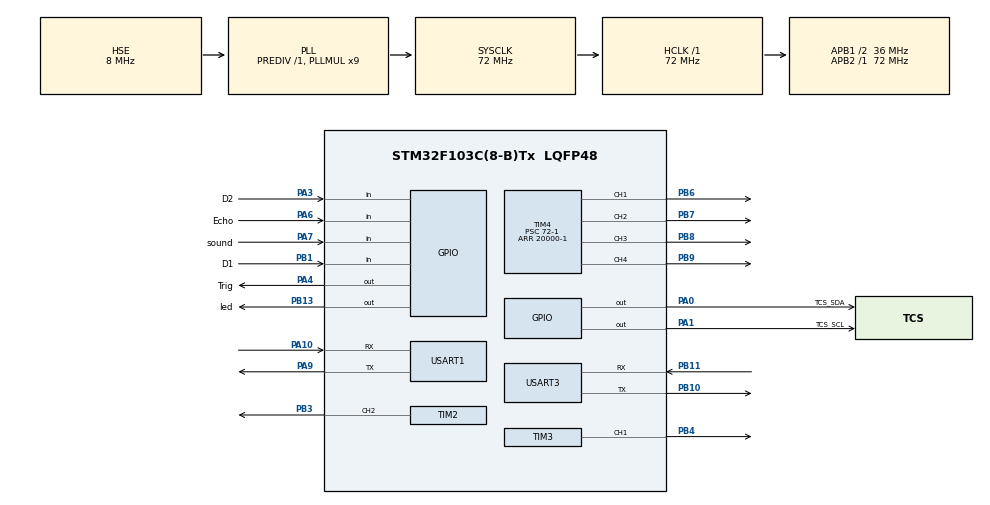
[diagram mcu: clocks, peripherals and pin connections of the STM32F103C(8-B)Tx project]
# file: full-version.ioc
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Mcu.Family=STM32F1
Mcu.Name=STM32F103C(8-B)Tx
Mcu.Package=LQFP48
NVIC.PriorityGroup=NVIC_PRIORITYGROUP_4
NVIC.USART1_IRQn=true\:0\:0\:false\:false\:true\:true\:true
NVIC.USART3_IRQn=true\:0\:0\:false\:false\:true\:true\:true
PA0-WKUP.GPIO_Label=TCS_SDA
PA0-WKUP.GPIO_ModeDefaultOutputPP=GPIO_MODE_OUTPUT_PP
PA0-WKUP.GPIO_PuPd=GPIO_NOPULL
PA0-WKUP.GPIO_Speed=GPIO_SPEED_FREQ_HIGH
PA0-WKUP.PinState=GPIO_PIN_SET
PA0-WKUP.Signal=GPIO_Output
PA1.GPIO_Label=TCS_SCL
PA1.GPIO_ModeDefaultOutputPP=GPIO_MODE_OUTPUT_PP
PA1.GPIO_PuPd=GPIO_NOPULL
PA1.GPIO_Speed=GPIO_SPEED_FREQ_HIGH
PA1.PinState=GPIO_PIN_SET
PA1.Signal=GPIO_Output
PA10.Mode=Asynchronous
PA10.Signal=USART1_RX
PA3.GPIO_Label=D2
PA3.Signal=GPIO_Input
PA4.GPIO_Label=Trig
PA4.GPIO_PuPd=GPIO_PULLUP
PA4.Signal=GPIO_Output
PA6.GPIO_Label=Echo
PA6.Signal=GPIO_Input
PA7.GPIO_Label=sound
PA7.Signal=GPIO_Input
PA9.Mode=Asynchronous
PA9.Signal=USART1_TX
PB1.GPIO_Label=D1
PB1.Signal=GPIO_Input
PB10.Mode=Asynchronous
PB10.Signal=USART3_TX
PB11.Mode=Asynchronous
PB11.Signal=USART3_RX
PB13.GPIO_Label=led
PB13.GPIO_PuPd=GPIO_PULLDOWN
PB13.PinState=GPIO_PIN_SET
PB13.Signal=GPIO_Output
PB3.Signal=S_TIM2_CH2
PB4.Signal=S_TIM3_CH1
PB6.Signal=S_TIM4_CH1
PB7.Signal=S_TIM4_CH2
PB8.Signal=S_TIM4_CH3
PB9.Signal=S_TIM4_CH4
PD0-OSC_IN.Mode=HSE-External-Oscillator
PD0-OSC_IN.Signal=RCC_OSC_IN
PD1-OSC_OUT.Mode=HSE-External-Oscillator
PD1-OSC_OUT.Signal=RCC_OSC_OUT
ProjectManager.HeapSize=0x200
ProjectManager.StackSize=0x400
ProjectManager.TargetToolchain=MDK-ARM V5.27
RCC.AHBFreq_Value=72000000
RCC.APB1CLKDivider=RCC_HCLK_DIV2
RCC.APB1Freq_Value=36000000
RCC.APB1TimFreq_Value=72000000
RCC.APB2Freq_Value=72000000
RCC.APB2TimFreq_Value=72000000
RCC.HCLKFreq_Value=72000000
RCC.PLLMUL=RCC_PLL_MUL9
RCC.PLLSourceVirtual=RCC_PLLSOURCE_HSE
RCC.SYSCLKFreq_VALUE=72000000
RCC.SYSCLKSource=RCC_SYSCLKSOURCE_PLLCLK
RCC.USBFreq_Value=72000000
SH.S_TIM2_CH2.0=TIM2_CH2,PWM Generation2 CH2
SH.S_TIM3_CH1.0=TIM3_CH1,PWM Generation1 CH1
SH.S_TIM4_CH1.0=TIM4_CH1,PWM Generation1 CH1
SH.S_TIM4_CH2.0=TIM4_CH2,PWM Generation2 CH2
SH.S_TIM4_CH3.0=TIM4_CH3,PWM Generation3 CH3
SH.S_TIM4_CH4.0=TIM4_CH4,PWM Generation4 CH4
TIM2.Channel-PWM\ Generation2\ CH2=TIM_CHANNEL_2
TIM2.OC2Preload_PWM=DISABLE
TIM2.OCFastMode_PWM-PWM\ Generation2\ CH2=TIM_OCFAST_ENABLE
TIM2.Period=20000-1
TIM2.Prescaler=72-1
TIM2.Pulse-PWM\ Generation2\ CH2=1500
TIM3.Channel-PWM\ Generation1\ CH1=TIM_CHANNEL_1
TIM3.OC1Preload_PWM=DISABLE
TIM3.OCFastMode_PWM-PWM\ Generation1\ CH1=TIM_OCFAST_ENABLE
TIM3.Period=20000-1
TIM3.Prescaler=72-1
TIM3.Pulse-PWM\ Generation1\ CH1=1500
TIM4.Channel-PWM\ Generation1\ CH1=TIM_CHANNEL_1
TIM4.Channel-PWM\ Generation2\ CH2=TIM_CHANNEL_2
TIM4.Channel-PWM\ Generation3\ CH3=TIM_CHANNEL_3
TIM4.Channel-PWM\ Generation4\ CH4=TIM_CHANNEL_4
TIM4.OC1Preload_PWM=DISABLE
TIM4.OC2Preload_PWM=DISABLE
TIM4.OC3Preload_PWM=DISABLE
TIM4.OC4Preload_PWM=DISABLE
TIM4.OCFastMode_PWM-PWM\ Generation1\ CH1=TIM_OCFAST_ENABLE
TIM4.OCFastMode_PWM-PWM\ Generation2\ CH2=TIM_OCFAST_ENABLE
TIM4.OCFastMode_PWM-PWM\ Generation3\ CH3=TIM_OCFAST_ENABLE
TIM4.OCFastMode_PWM-PWM\ Generation4\ CH4=TIM_OCFAST_ENABLE
TIM4.Period=20000-1
TIM4.Prescaler=72-1
TIM4.Pulse-PWM\ Generation1\ CH1=1500
TIM4.Pulse-PWM\ Generation2\ CH2=1500
TIM4.Pulse-PWM\ Generation3\ CH3=1500
TIM4.Pulse-PWM\ Generation4\ CH4=1500
USART1.VirtualMode=VM_ASYNC
USART3.VirtualMode=VM_ASYNC
VP_SYS_VS_ND.Mode=No_Debug
board=custom

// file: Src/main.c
/* USER CODE BEGIN Header */
/**
  ******************************************************************************
  * @file           : main.c
  * @brief          : Main program body
  ******************************************************************************
  * @attention
  *
  * <h2><center>&copy; Copyright (c) 2021 STMicroelectronics.
  * All rights reserved.</center></h2>
  *
  * This software component is licensed by ST under BSD 3-Clause license,
  * the "License"; You may not use this file except in compliance with the
  * License. You may obtain a copy of the License at:
  *                        opensource.org/licenses/BSD-3-Clause
  *
  ******************************************************************************
  */
/* USER CODE END Header */
#include "main.h"
#include "tim.h"
#include "usart.h"
#include "gpio.h"

/* USER CODE BEGIN Includes */
#include "stdio.h"
#include "motor.h"
#include "robot-arm.h"
#include "string.h"
#include "sensor.h"
/* USER CODE END Includes */

void SystemClock_Config(void);

/* USER CODE BEGIN 0 */

int fputc(int ch, FILE *stream)    //重写fputc函数
{
 /*
    huart1是工具生成代码定义的UART1结构体，
    如果以后要使用其他串口打印，只需要把这个结构体改成其他UART结构体。
	使用HAL_UART_Transmit时，可以直接调用，使用IT,DMA,VCP方式时，需要对返回值判断，不然会出现只能发送一个字节的情况。
	安全起见，建议全部使用while判断。
*/
	//HAL_UART_Transmit(&huart1, (unsigned char *)&ch, 1,1000);//轮询阻塞方式
	while(HAL_UART_Transmit_IT(&huart1, (unsigned char *)&ch, 1)!=HAL_OK){};//中断方式
    return 1;
}
int fgetc(FILE *f)
{
  uint8_t ch =0;
	//HAL_UART_Receive(&huart1, &ch, 1, 0xffff);//轮询阻塞方式
	while(HAL_UART_Receive_IT(&huart1, &ch, 1)!=HAL_OK){};
  return ch;
}

/* USER CODE END 0 */

int main(void)
{

  /* MCU Configuration--------------------------------------------------------*/

  /* Reset of all peripherals, Initializes the Flash interface and the Systick. */
  HAL_Init();

  /* Configure the system clock */
  SystemClock_Config();

  /* USER CODE BEGIN SysInit */
	HAL_Delay(1000);
  /* USER CODE END SysInit */

  /* Initialize all configured peripherals */
  MX_GPIO_Init();
  MX_TIM2_Init();
  MX_USART1_UART_Init();
  MX_USART3_UART_Init();
  MX_TIM3_Init();
  MX_TIM4_Init();
  /* USER CODE BEGIN 2 */
  HAL_UART_Receive_IT(&huart3,&blue_cmd,1);//打开串口中断
	motor_init();
	arm_init();
	TCS34725_Init(TCS34725_INTEGRATIONTIME_700MS,TCS34725_GAIN_1X);
	HAL_Delay(2000);
	arm_set(arm_begin);
	HAL_GPIO_WritePin(led_GPIO_Port,led_Pin,GPIO_PIN_RESET);
  /* USER CODE END 2 */

  /* Infinite loop */
  /* USER CODE BEGIN WHILE */
  char input;
  while (1)
  {
    /* USER CODE END WHILE */

    /* USER CODE BEGIN 3 */
	input=get_cmd();
	if(input){
	switch(input){
		case '1':
			usart_send_str(&huart3,(unsigned char *)"Motor Control Begin!\r\n");
			motor_task();
			motor_set(0,0);
			usart_send_str(&huart3,(unsigned char *)"Motor Control End!\r\n");break;
		case '2':
			usart_send_str(&huart3,(unsigned char *)"Hcsr Task Begin!\r\n");
			while(get_cmd()!='Q'){hcsr_task();}
			motor_set(0,0);
			usart_send_str(&huart3,(unsigned char *)"Hcsr Task End!\r\n");break;
		case '3':
			usart_send_str(&huart3,(unsigned char *)"Color Task Begin!\r\n");
			while(get_cmd()!='Q'){color_task();}
			usart_send_str(&huart3,(unsigned char *)"Color Task End!\r\n");break;
		case '4':
			usart_send_str(&huart3,(unsigned char *)"XunJi Task Begin!\r\n");
			while((xunji_task())&&(get_cmd()!='Q'));
			usart_send_str(&huart3,(unsigned char *)"XunJi Task End!\r\n");break;
		case '5':
			usart_send_str(&huart3,(unsigned char *)"Arm Control Begin!\r\n");
			arm_task();
			usart_send_str(&huart3,(unsigned char *)"Arm Control End!\r\n");break;
		default:usart_send_str(&huart3,(unsigned char *)"Error Cmd\r\n");break;
	}
	}
	sound_task();
  }
  /* USER CODE END 3 */
}

void SystemClock_Config(void)
{
  RCC_OscInitTypeDef RCC_OscInitStruct = {0};
  RCC_ClkInitTypeDef RCC_ClkInitStruct = {0};

  /** Initializes the RCC Oscillators according to the specified parameters
  * in the RCC_OscInitTypeDef structure.
  */
  RCC_OscInitStruct.OscillatorType = RCC_OSCILLATORTYPE_HSE;
  RCC_OscInitStruct.HSEState = RCC_HSE_ON;
  RCC_OscInitStruct.HSEPredivValue = RCC_HSE_PREDIV_DIV1;
  RCC_OscInitStruct.HSIState = RCC_HSI_ON;
  RCC_OscInitStruct.PLL.PLLState = RCC_PLL_ON;
  RCC_OscInitStruct.PLL.PLLSource = RCC_PLLSOURCE_HSE;
  RCC_OscInitStruct.PLL.PLLMUL = RCC_PLL_MUL9;
  if (HAL_RCC_OscConfig(&RCC_OscInitStruct) != HAL_OK)
  {
    Error_Handler();
  }
  /** Initializes the CPU, AHB and APB buses clocks
  */
  RCC_ClkInitStruct.ClockType = RCC_CLOCKTYPE_HCLK|RCC_CLOCKTYPE_SYSCLK
                              |RCC_CLOCKTYPE_PCLK1|RCC_CLOCKTYPE_PCLK2;
  RCC_ClkInitStruct.SYSCLKSource = RCC_SYSCLKSOURCE_PLLCLK;
  RCC_ClkInitStruct.AHBCLKDivider = RCC_SYSCLK_DIV1;
  RCC_ClkInitStruct.APB1CLKDivider = RCC_HCLK_DIV2;
  RCC_ClkInitStruct.APB2CLKDivider = RCC_HCLK_DIV1;

  if (HAL_RCC_ClockConfig(&RCC_ClkInitStruct, FLASH_LATENCY_2) != HAL_OK)
  {
    Error_Handler();
  }
}

void Error_Handler(void)
{
  __disable_irq();
  while (1)
  {
  }
}

/************************ (C) COPYRIGHT STMicroelectronics *****END OF FILE****/
